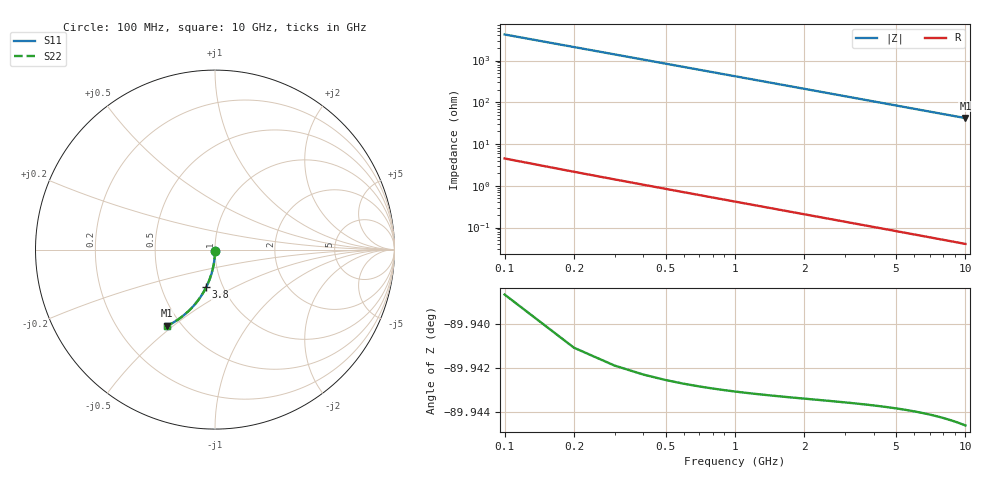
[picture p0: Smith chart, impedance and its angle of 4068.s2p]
# Hz S RI R 50.00
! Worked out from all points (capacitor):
!   100 points, 100 MHz to 10 GHz, reference 50 ohm
!   read as one part in shunt: C = 378 fF near 100 MHz
!   lowest |Z| = 41.9 ohm at 10 GHz (marker M1)
!   S11 on the Smith chart (normalised r, x): 100 MHz: 1.00, -0.01; 3.8 GHz: 0.83, -0.37; 10 GHz: 0.42, -0.48
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1e8  -4.36e-06 -0.00577  0.9999 -0.0061  0.9999 -0.0061  -4.36e-06 -0.00577
2e8  -0.000115 -0.0115  0.9998 -0.0122  0.9998 -0.0122  -0.000115 -0.0115
3e8  -0.000297 -0.0173  0.9996 -0.0183  0.9996 -0.0183  -0.000297 -0.0173
4e8  -0.000549 -0.0231  0.9994 -0.0244  0.9994 -0.0244  -0.000549 -0.0231
5e8  -0.000871 -0.0288  0.9991 -0.0305  0.9991 -0.0305  -0.000871 -0.0288
6e8  -0.00126 -0.0346  0.9987 -0.0366  0.9987 -0.0366  -0.00126 -0.0346
7e8  -0.00173 -0.0403  0.9982 -0.0427  0.9982 -0.0427  -0.00173 -0.0403
8e8  -0.00226 -0.046  0.9977 -0.0487  0.9977 -0.0487  -0.00226 -0.046
9e8  -0.00286 -0.0518  0.9971 -0.0548  0.9971 -0.0548  -0.00286 -0.0518
1.1e9  -0.00427 -0.0632  0.9956 -0.0669  0.9956 -0.0669  -0.00427 -0.0632
1.4e9  -0.00691 -0.0802  0.993 -0.0849  0.993 -0.0849  -0.00691 -0.0802
1.8e9  -0.0114 -0.1027  0.9885 -0.1088  0.9885 -0.1088  -0.0114 -0.1027
2.1e9  -0.0154 -0.1194  0.9845 -0.1265  0.9845 -0.1265  -0.0154 -0.1194
2.5e9  -0.0217 -0.1413  0.9781 -0.1497  0.9781 -0.1497  -0.0217 -0.1413
2.9e9  -0.0291 -0.1628  0.9708 -0.1725  0.9708 -0.1725  -0.0291 -0.1628
3.4e9  -0.0396 -0.1888  0.9603 -0.2003  0.9603 -0.2003  -0.0396 -0.1888
3.8e9  -0.049 -0.2091  0.9509 -0.2219  0.9509 -0.2219  -0.049 -0.2091
4.4e9  -0.0647 -0.2382  0.9351 -0.2531  0.9351 -0.2531  -0.0647 -0.2382
5.1e9  -0.0852 -0.2702  0.9146 -0.2875  0.9146 -0.2875  -0.0852 -0.2702
6.7e9  -0.1391 -0.3342  0.8606 -0.3572  0.8606 -0.3572  -0.1391 -0.3342
8.4e9  -0.2033 -0.3876  0.7962 -0.4166  0.7962 -0.4166  -0.2033 -0.3876
1e10  -0.2664 -0.4244  0.7329 -0.4591  0.7329 -0.4591  -0.2664 -0.4244
